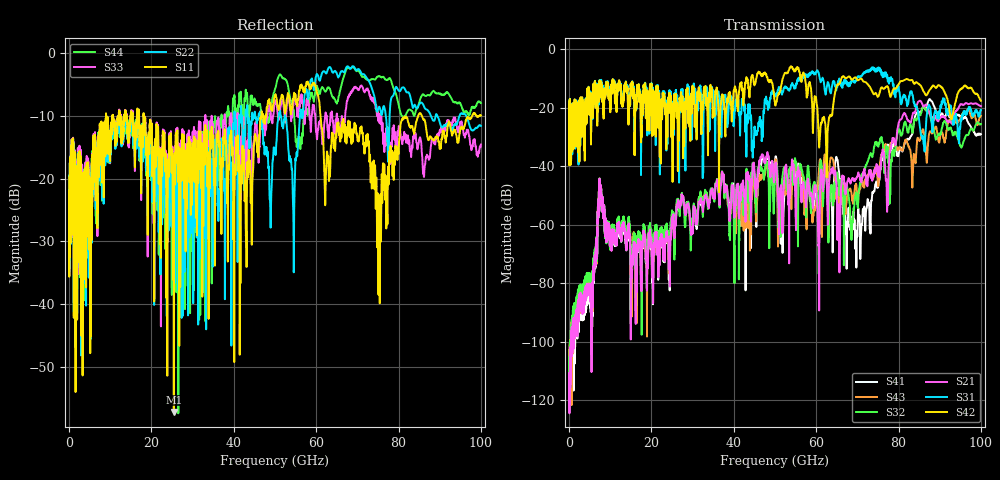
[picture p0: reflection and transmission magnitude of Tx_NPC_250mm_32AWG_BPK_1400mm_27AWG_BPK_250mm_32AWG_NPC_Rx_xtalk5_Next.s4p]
! Info: Touchstone file created by Circ.  Input file=Tx_NPC_250mm_32AWG_BPK_1400mm_27AWG_BPK_250mm_32AWG_NPC_Rx.circ
# Hz S RI R 50
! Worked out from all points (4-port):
!   10000 points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, 10 MHz to 100 GHz, reference 50 ohm
!   strongest paths, dB at 10 MHz, 25.01 GHz, 50.01 GHz, 75.01 GHz, 100 GHz:
!     S42: -25.8, -19.4, -18.4, -16.3, -17.6
!     S31: -25.8, -18.4, -15.4, -6.7, -20.8
!     S21: -116.3, -57.8, -40.5, -41.2, -19.5
!     S32: -105.4, -55.3, -44.4, -32.8, -25.5
!     S43: -103.2, -56.7, -39.5, -45.9, -22.7
!     S41: -114.9, -58.4, -38.3, -47.3, -29.0
!   lowest |S11| = -57.3 dB at 25.44 GHz (marker M1), VSWR 1.00, Z = 50 + j0.133 ohm
!   |S11| at or under -10 dB: 18.16 GHz to 46.66 GHz (28.5 GHz wide, 87.9 % of centre); 61.06 GHz to 84.77 GHz (23.71 GHz wide, 32.5 % of centre); 85.69 GHz to 97.84 GHz (12.15 GHz wide, 13.2 % of centre) (the widest 3 of 33)
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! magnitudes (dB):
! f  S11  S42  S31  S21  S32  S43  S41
! 10 MHz  -22.0  -25.8  -25.8  -116.3  -105.4  -103.2  -114.9
! 5.55 GHz  -22.5  -17.1  -16.6  -89.4  -81.3  -85.5  -93.6
! 7.68 GHz  -15.8  -12.9  -12.3  -46.8  -47.0  -47.0  -46.8
! 25.44 GHz  -57.3  -26.1  -29.4  -60.6  -61.4  -61.5  -62.7
! 69.62 GHz  -11.5  -9.7  -11.0  -44.3  -49.2  -46.2  -62.5
! 87.47 GHz  -13.8  -14.1  -19.3  -21.7  -22.0  -28.8  -17.1
! 100 GHz  -9.9  -17.6  -20.8  -19.5  -25.5  -22.7  -29.0
